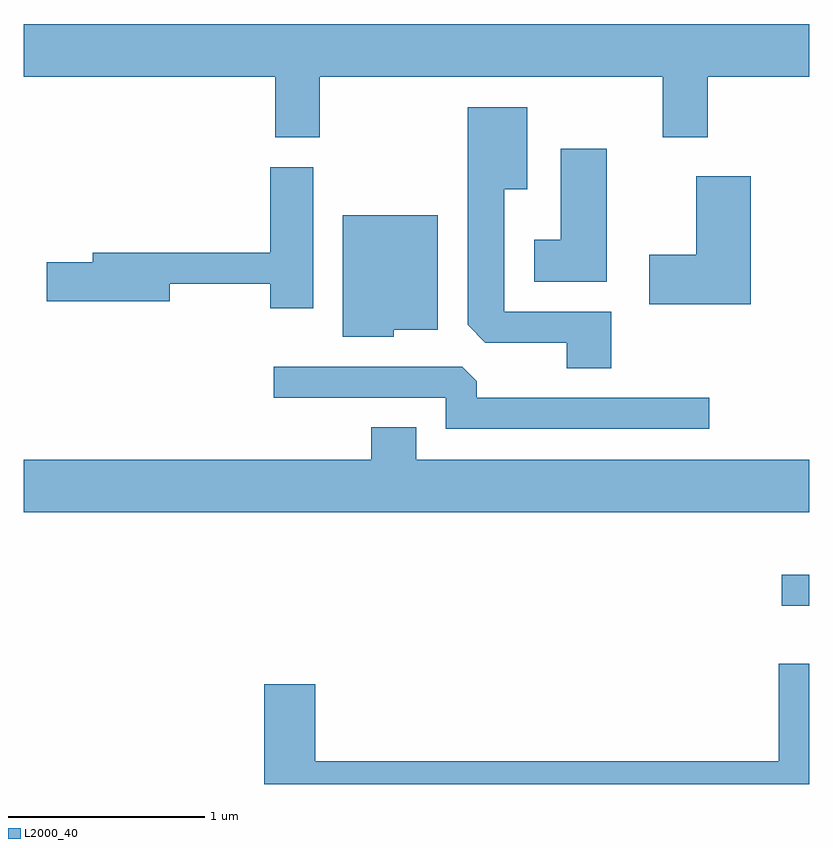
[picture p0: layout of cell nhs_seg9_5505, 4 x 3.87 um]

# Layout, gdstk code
import gdstk
lib = gdstk.Library(unit=1e-6, precision=1e-09)
def R(c, l, rs):  # rectangles x0, y0, x1, y1
    for r in rs: c.add(gdstk.rectangle(r[:2], r[2:], *l))
def P(c, l, *ps):  # polygons
    for p in ps: c.add(gdstk.Polygon(p, *l))
L2000_40 = (2000, 40)

nhs_seg9_5505 = lib.new_cell('nhs_seg9_5505')
R(nhs_seg9_5505, L2000_40, [(351.473,1991.341,351.611,1991.499)])
P(nhs_seg9_5505, L2000_40, [(349.119,1994.036),(350.866,1994.036),(350.866,1993.726),(351.094,1993.726),(351.094,1994.036),(351.611,1994.036),(351.611,1994.304),(347.611,1994.304),(347.611,1994.036),(348.891,1994.036),(348.891,1993.726),(349.119,1993.726)],
  [(350.604,1992.839),(350.059,1992.839),(350.059,1993.461),(350.174,1993.461),(350.174,1993.879),(349.871,1993.879),(349.871,1992.772),(349.962,1992.681),(350.376,1992.681),(350.376,1992.551),(350.604,1992.551)],
  [(350.579,1993.669),(350.346,1993.669),(350.346,1993.204),(350.211,1993.204),(350.211,1992.991),(350.579,1992.991)],
  [(349.084,1993.574),(348.866,1993.574),(348.866,1993.139),(347.961,1993.139),(347.961,1993.089),(347.726,1993.089),(347.726,1992.891),(348.354,1992.891),(348.354,1992.981),(348.866,1992.981),(348.866,1992.856),(349.084,1992.856)],
  [(351.314,1993.529),(351.036,1993.529),(351.036,1993.129),(350.796,1993.129),(350.796,1992.876),(351.314,1992.876)],
  [(349.494,1992.746),(349.719,1992.746),(349.719,1993.329),(349.236,1993.329),(349.236,1992.711),(349.494,1992.711)],
  [(351.103,1992.399),(349.919,1992.399),(349.919,1992.484),(349.844,1992.559),(348.883,1992.559),(348.883,1992.401),(349.761,1992.401),(349.761,1992.241),(351.103,1992.241)],
  [(351.611,1992.084),(349.609,1992.084),(349.609,1992.249),(349.381,1992.249),(349.381,1992.084),(347.611,1992.084),(347.611,1991.816),(351.611,1991.816)],
  [(351.611,1991.044),(351.456,1991.044),(351.456,1990.549),(349.094,1990.549),(349.094,1990.939),(348.836,1990.939),(348.836,1990.432),(351.611,1990.432)])

lib.write_gds('nhs_seg9_5505.gds')
